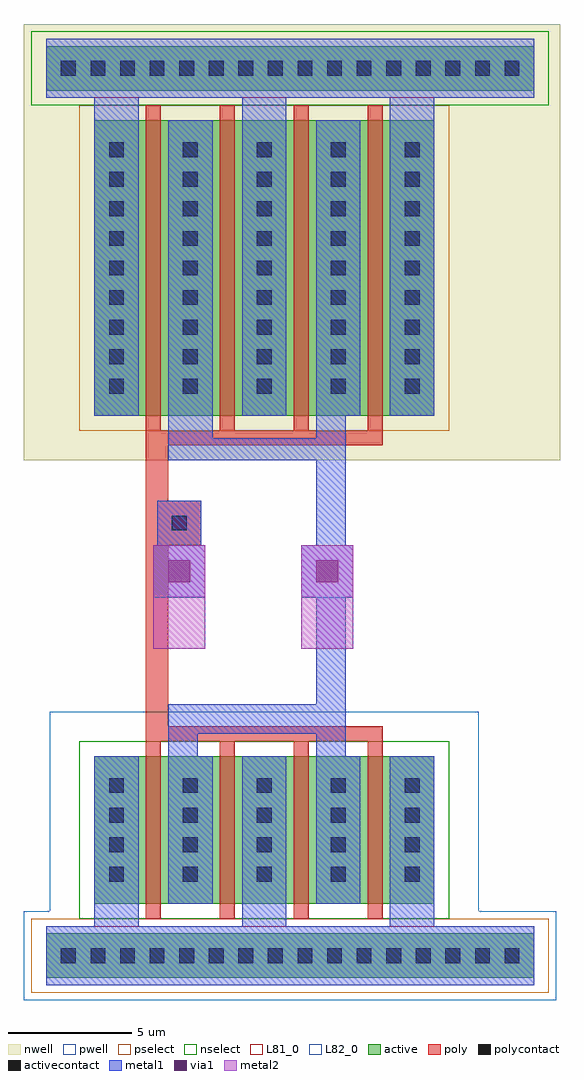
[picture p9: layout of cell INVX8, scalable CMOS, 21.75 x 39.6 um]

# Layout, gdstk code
import gdstk
lib = gdstk.Library(unit=1e-6, precision=1e-09)
def R(c, l, rs):  # rectangles x0, y0, x1, y1
    for r in rs: c.add(gdstk.rectangle(r[:2], r[2:], *l))
def A(c, l, x, y, w, h, nx, ny, dx, dy):  # array of equal rectangles
    R(c, l, [(x+i*dx, y+j*dy, x+i*dx+w, y+j*dy+h) for i in range(nx) for j in range(ny)])
pwell = (41, 0)
nwell = (42, 0)
active = (43, 0)
pselect = (44, 0)
nselect = (45, 0)
poly = (46, 0)
polycontact = (47, 0)
activecontact = (48, 0)
metal1 = (49, 0)
via1 = (50, 0)
metal2 = (51, 0)
L81_0 = (81, 0)
L82_0 = (82, 0)

invx8 = lib.new_cell('INVX8')
R(invx8, pwell, [(-1.8,-1.8,19.8,1.8), (-0.75,1.8,16.65,9.9)])
R(invx8, nwell, [(-1.8,20.1,19.95,37.8)])
R(invx8, active, [(-0.9,-0.9,18.9,0.9), (1.05,2.1,14.85,8.1), (1.05,21.9,14.85,33.9), (-0.9,35.1,18.9,36.9)])
R(invx8, pselect, [(-1.5,-1.5,19.5,1.5), (0.45,21.3,15.45,34.5)])
R(invx8, nselect, [(0.45,1.5,15.45,8.7), (-1.5,34.5,19.5,37.5)])
A(invx8, poly, 3.15, 1.5, 0.6, 7.2, 4, 1, 3, 0)
A(invx8, poly, 3.15, 21.3, 0.6, 13.2, 4, 1, 3, 0)
R(invx8, poly, [(3.15,8.7,12.75,9.3), (3.15,9.3,4.05,16.65), (3.15,16.65,5.4,18.45), (3.15,18.45,4.05,20.7), (3.15,20.7,12.75,21.3)])
R(invx8, polycontact, [(4.2,17.25,4.8,17.85)])
A(invx8, activecontact, -0.3, -0.3, 0.6, 0.6, 16, 2, 1.2, 36)
A(invx8, activecontact, 1.65, 3, 0.6, 0.6, 5, 4, 3, 1.2)
A(invx8, activecontact, 1.65, 22.8, 0.6, 0.6, 5, 9, 3, 1.2)
A(invx8, metal1, 1.05, 1.2, 1.8, 6.9, 3, 1, 6, 0)
A(invx8, metal1, 1.05, 21.9, 1.8, 12.9, 3, 1, 6, 0)
R(invx8, metal1, [(-0.9,-1.2,18.9,1.2), (4.05,2.1,5.85,8.1), (10.05,2.1,11.85,8.1), (4.05,8.1,5.25,9), (10.05,8.1,11.25,9), (4.05,9,11.25,10.2), (10.05,10.2,11.25,14.55), (3.45,14.55,5.55,16.65), (9.45,14.55,11.55,16.65), (3.6,16.65,5.4,18.45), (10.05,16.65,11.25,20.1), (4.05,20.1,11.25,21), (4.05,21,5.85,33.9), (10.05,21,11.25,21.9), (10.05,21.9,11.85,33.9), (-0.9,34.8,18.9,37.2)])
R(invx8, via1, [(4.05,15.15,4.95,16.05), (10.05,15.15,10.95,16.05)])
R(invx8, metal2, [(3.45,12.45,5.55,16.65), (9.45,12.45,11.55,16.65)])
R(invx8, L81_0, [(-0.9,-1.2,18.9,1.2), (-0.9,34.8,18.9,37.2)])
R(invx8, L82_0, [(3.45,12.45,5.55,14.55), (9.45,12.45,11.55,14.55)])

lib.write_gds('INVX8.gds')
